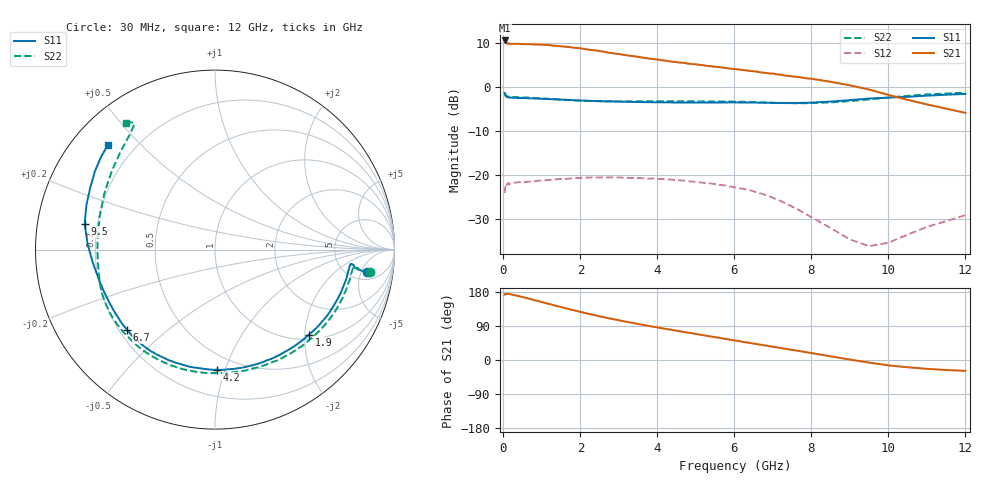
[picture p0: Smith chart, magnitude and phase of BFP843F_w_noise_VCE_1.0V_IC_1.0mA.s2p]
! Infineon Technologies  Discrete & RF Semiconductors
! BFP843F
! VCE =  1.0 V,  IC =  1.0 mA
! Common Emitter S-Parameters:  Aug 2013
# GHz  S  MA  R  50
!  f  S11  S21  S12  S22
! GHz  MAG  ANG  MAG  ANG  MAG  ANG  MAG  ANG
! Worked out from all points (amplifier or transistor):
!   103 points, 30 MHz to 12 GHz, reference 50 ohm
!   highest |S21| = 10.6 dB at 30 MHz (marker M1)
!   |S21| within 3 dB of that: start of sweep to 2.917 GHz
!   unconditionally stable (mu >= 1): 94.66 MHz to 940.5 MHz; 4.724 GHz to end of sweep
!   at 400 MHz: K = 1.03, MAG = 14.7 dB, |S12| = -21.6 dB
!   at 3.7 GHz: K = 0.93, MSG = 13.6 dB, |S12| = -20.7 dB
!   at 12 GHz: K = 2.34, MAG = 5.1 dB, |S12| = -29.1 dB
!   lowest NFmin = 1.53 dB at 450 MHz
!   S11 on the Smith chart (normalised r, x): 30 MHz: 6.84, -6.40; 1.9 GHz: 1.11, -2.10; 4.2 GHz: 0.39, -0.94; 6.7 GHz: 0.23, -0.37; 9.5 GHz: 0.15, +0.10; 12 GHz: 0.11, +0.40
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0.03  0.8561 -8.4  3.38 172.6  0.0628 38.6  0.8705 -8.4
0.04  0.8239 -8.2  3.286 172.5  0.0689 31.8  0.8395 -8.3
0.05  0.8059 -7.7  3.198 174.2  0.0735 26.4  0.8259 -7.9
0.1  0.7702 -6.2  3.097 174.1  0.0775 13.8  0.7838 -7.5
0.15  0.7623 -6.3  3.118 174.2  0.0787 9.5  0.7753 -7.7
0.7  0.7435 -16.2  3.072 160.8  0.0842 2.5  0.7563 -23.9
1  0.7351 -22.7  3.032 152.7  0.0868 0.7  0.743 -33.8
1.5  0.7194 -33.5  2.907 139.8  0.0907 -2.3  0.7198 -50.4
1.9  0.7056 -42.1  2.779 129.6  0.0926 -5.5  0.7031 -63.5
2.1  0.7015 -46.4  2.708 124.5  0.0934 -7.3  0.6982 -69.9
2.4  0.693 -52.8  2.608 117.6  0.0938 -10.6  0.6928 -78.8
3  0.6815 -64.9  2.372 104.8  0.0941 -15.4  0.6889 -94.4
4.1  0.671 -87.0  2.016 84.1  0.0907 -26.6  0.6894 -116.8
4.2  0.6691 -89.1  1.999 82.4  0.0892 -27.3  0.6898 -118.6
5  0.6662 -105.1  1.812 68.7  0.0837 -35.4  0.6879 -132.5
6.1  0.6682 -126.1  1.588 50.1  0.0714 -47.7  0.6815 -151.2
6.7  0.6637 -137.4  1.463 40.0  0.0616 -55.5  0.6717 -161.1
7.6  0.6586 -155.4  1.31 25.2  0.0416 -62.5  0.6545 -177.1
8.5  0.6839 -173.6  1.147 9.7  0.025 -57.2  0.6694 163.6
9.5  0.7404 168.8  0.936 -6.9  0.0156 -22.4  0.7242 142.3
10.5  0.7753 153.8  0.716 -19.2  0.0211 18.7  0.7937 127.1
12  0.8342 135.7  0.509 -28.6  0.0351 33.0  0.8637 125.0
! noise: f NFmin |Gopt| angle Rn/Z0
0.45  1.53  0.43  11  0.36
0.9  1.54  0.44  19  0.36
1.5  1.7  0.44  27  0.37
1.9  1.8  0.43  38  0.38
2.4  1.86  0.43  49  0.39
3.5  2.02  0.46  72  0.44
5.5  2.23  0.42  117  0.53
10  4.06  0.58  -144  0.6
